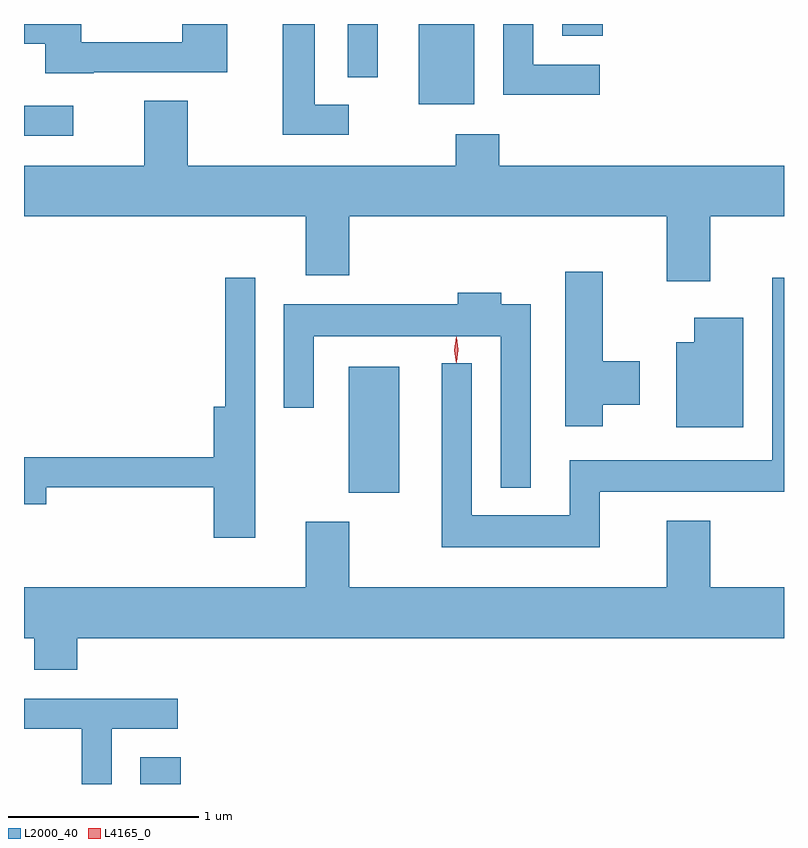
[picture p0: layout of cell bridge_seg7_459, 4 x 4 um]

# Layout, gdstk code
import gdstk
lib = gdstk.Library(unit=1e-6, precision=1e-09)
def R(c, l, rs):  # rectangles x0, y0, x1, y1
    for r in rs: c.add(gdstk.rectangle(r[:2], r[2:], *l))
def P(c, l, *ps):  # polygons
    for p in ps: c.add(gdstk.Polygon(p, *l))
L2000_40 = (2000, 40)
L4165_0 = (4165, 0)

bridge_seg7_459 = lib.new_cell('bridge_seg7_459')
R(bridge_seg7_459, L2000_40, [(1130.291,1691.349,1130.504,1691.489), (1131.386,1692.881,1131.654,1693.544), (1129.678,1694.761,1129.938,1694.919), (1131.756,1694.926,1132.049,1695.349), (1131.381,1695.068,1131.539,1695.349), (1132.511,1695.286,1132.724,1695.349)])
P(bridge_seg7_459, L2000_40, [(1130.045,1695.096),(1130.749,1695.096),(1130.749,1695.349),(1130.511,1695.349),(1130.511,1695.254),(1129.979,1695.254),(1129.979,1695.349),(1129.678,1695.349),(1129.678,1695.246),(1129.791,1695.246),(1129.791,1695.091),(1130.045,1695.091)],
  [(1131.388,1694.924),(1131.209,1694.924),(1131.209,1695.349),(1131.041,1695.349),(1131.041,1694.766),(1131.388,1694.766)],
  [(1132.708,1695.134),(1132.359,1695.134),(1132.359,1695.349),(1132.201,1695.349),(1132.201,1694.976),(1132.708,1694.976)],
  [(1130.311,1694.944),(1130.311,1694.604),(1129.678,1694.604),(1129.678,1694.336),(1131.161,1694.336),(1131.161,1694.026),(1131.389,1694.026),(1131.389,1694.336),(1133.061,1694.336),(1133.061,1693.996),(1133.289,1693.996),(1133.289,1694.336),(1133.678,1694.336),(1133.678,1694.604),(1132.179,1694.604),(1132.179,1694.769),(1131.951,1694.769),(1131.951,1694.604),(1130.539,1694.604),(1130.539,1694.944)],
  [(1132.724,1693.346),(1132.919,1693.346),(1132.919,1693.574),(1132.724,1693.574),(1132.724,1694.044),(1132.526,1694.044),(1132.526,1693.231),(1132.724,1693.231)],
  [(1130.894,1694.013),(1130.736,1694.013),(1130.736,1693.334),(1130.676,1693.334),(1130.676,1693.069),(1129.678,1693.069),(1129.678,1692.821),(1129.794,1692.821),(1129.794,1692.911),(1130.676,1692.911),(1130.676,1692.646),(1130.894,1692.646)],
  [(1132.709,1692.886),(1133.678,1692.886),(1133.678,1694.013),(1133.616,1694.013),(1133.616,1693.054),(1132.551,1693.054),(1132.551,1692.764),(1132.034,1692.764),(1132.034,1693.563),(1131.876,1693.563),(1131.876,1692.596),(1132.709,1692.596)],
  [(1132.344,1693.874),(1132.189,1693.874),(1132.189,1693.934),(1131.961,1693.934),(1131.961,1693.874),(1131.046,1693.874),(1131.046,1693.328),(1131.204,1693.328),(1131.204,1693.706),(1132.186,1693.706),(1132.186,1692.908),(1132.344,1692.908)],
  [(1133.464,1693.804),(1133.206,1693.804),(1133.206,1693.674),(1133.111,1693.674),(1133.111,1693.226),(1133.464,1693.226)],
  [(1129.959,1692.116),(1133.678,1692.116),(1133.678,1692.384),(1133.289,1692.384),(1133.289,1692.734),(1133.061,1692.734),(1133.061,1692.384),(1131.389,1692.384),(1131.389,1692.729),(1131.161,1692.729),(1131.161,1692.384),(1129.678,1692.384),(1129.678,1692.116),(1129.731,1692.116),(1129.731,1691.951),(1129.959,1691.951)],
  [(1130.139,1691.641),(1130.488,1691.641),(1130.488,1691.799),(1129.678,1691.799),(1129.678,1691.641),(1129.981,1691.641),(1129.981,1691.349),(1130.139,1691.349)])
P(bridge_seg7_459, L4165_0, [(1131.954,1693.567),(1131.954,1693.568),(1131.944,1693.634),(1131.954,1693.7),(1131.954,1693.701),(1131.955,1693.7),(1131.964,1693.634),(1131.955,1693.568)],
  [(1131.953,1693.563),(1131.952,1693.564),(1131.943,1693.633),(1131.952,1693.702),(1131.953,1693.703),(1131.953,1693.702),(1131.963,1693.633),(1131.953,1693.564)])

lib.write_gds('bridge_seg7_459.gds')
